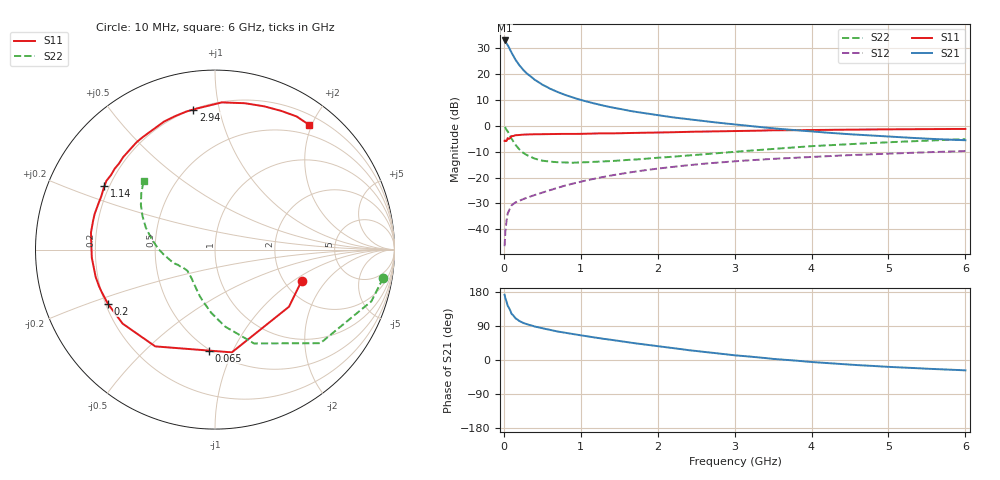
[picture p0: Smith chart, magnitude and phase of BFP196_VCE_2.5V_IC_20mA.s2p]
! Infineon Technologies  Discrete & RF Semiconductors
! BFP196
! VCE = 2.5 V,  IC =  20mA
! Common Emitter S-Parameters:  Jan 2016
# GHz  S  MA  R  50
!  f  S11  S21  S12  S22
! GHz  MAG  ANG  MAG  ANG  MAG  ANG  MAG  ANG
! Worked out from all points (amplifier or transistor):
!   210 points, 10 MHz to 6 GHz, reference 50 ohm
!   highest |S21| = 33.0 dB at 10 MHz (marker M1)
!   |S21| within 3 dB of that: start of sweep to 70.84 MHz
!   unconditionally stable (mu >= 1): 667.4 MHz to 3.463 GHz; 3.572 GHz to 4.333 GHz
!   at 185 MHz: K = 0.48, MSG = 26.7 dB, |S12| = -29.2 dB
!   at 1.52 GHz: K = 1.12, MAG = 10.4 dB, |S12| = -18.6 dB
!   at 6 GHz: K = 0.96, MSG = 2.1 dB, |S12| = -9.7 dB
!   S11 on the Smith chart (normalised r, x): 10 MHz: 2.47, -1.17; 65 MHz: 0.49, -0.81; 200 MHz: 0.21, -0.23; 1.14 GHz: 0.18, +0.26; 2.94 GHz: 0.20, +0.84; 6 GHz: 0.34, +1.96
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0.01  0.5131 -19.9  44.89 172.2  0.0047 82.5  0.9502 -9.6
0.02  0.5208 -37.7  43.11 163.1  0.0091 76.7  0.9177 -18.3
0.05  0.5802 -80.7  36.73 143.2  0.0202 59.6  0.7852 -41.6
0.065  0.5636 -93.5  33.11 138.3  0.0227 54.4  0.7065 -47.6
0.1  0.6338 -121.7  26.04 122.0  0.0289 45.9  0.5665 -67.4
0.15  0.6596 -141.3  19.12 110.3  0.033 40.8  0.432 -82.6
0.2  0.6689 -153.3  15 103.0  0.0354 40.1  0.3528 -93.4
0.26  0.6777 -162.5  11.77 97.2  0.0387 40.9  0.295 -103.2
0.3  0.6821 -167.1  10.26 94.1  0.0406 42.2  0.2716 -108.4
0.4  0.6878 -176.2  7.812 88.4  0.0458 45.0  0.2323 -118.5
0.5  0.6899 177.9  6.269 83.7  0.0509 47.4  0.2122 -126.1
0.6  0.6975 172.1  5.248 79.2  0.0571 49.8  0.2029 -131.7
0.7  0.698 167.3  4.508 75.2  0.0634 51.1  0.198 -135.9
1.02  0.7009 154.3  3.115 64.5  0.0843 52.7  0.1964 -145.0
1.14  0.7104 150.1  2.797 60.7  0.0925 52.8  0.1998 -147.7
1.6  0.7262 134.8  1.995 47.1  0.1231 50.2  0.2187 -155.7
2.02  0.7451 122.5  1.589 36.0  0.1501 46.0  0.2421 -163.0
2.94  0.7897 98.8  1.088 13.9  0.2035 34.9  0.3101 -179.6
3.1  0.7958 95.4  1.028 10.8  0.2112 32.8  0.3232 177.4
4.1  0.8335 77.0  0.757 -6.6  0.2548 21.2  0.4123 160.8
5.1  0.8583 63.3  0.611 -19.0  0.2935 10.0  0.4891 147.5
6  0.8707 53.0  0.527 -27.3  0.3255 -0.1  0.5514 136.1
